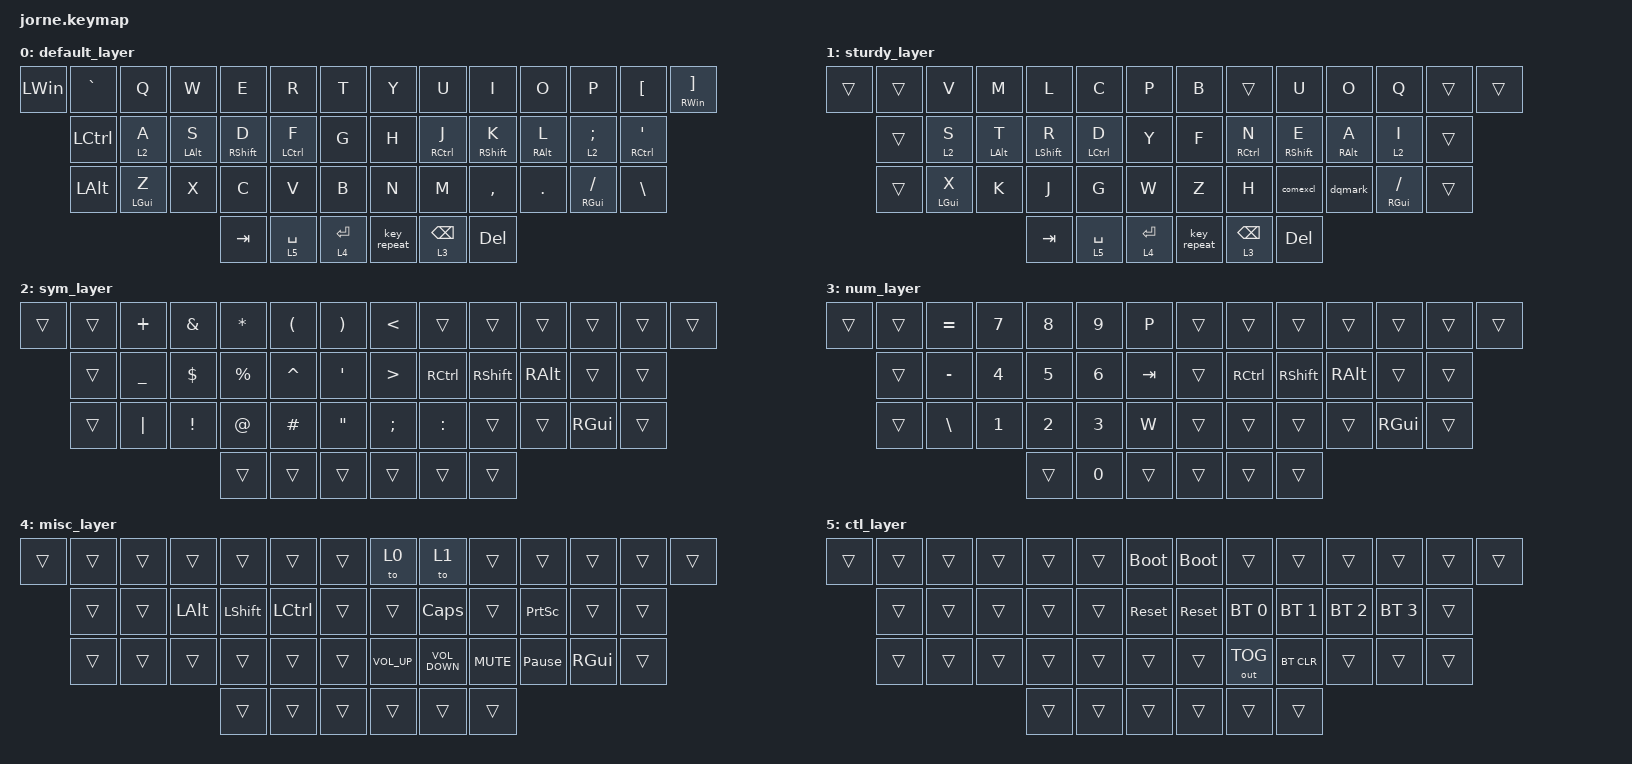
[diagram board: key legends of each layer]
/*
 * Copyright (c) 2020 The ZMK Contributors
 *
 * SPDX-License-Identifier: MIT
 */
/* THIS FILE WAS GENERATED!
 *
 * This file was generated automatically. You may or may not want to
 * edit it directly.
 */

#include <behaviors.dtsi>
#include <dt-bindings/zmk/bt.h>
#include <dt-bindings/zmk/keys.h>
#include <dt-bindings/zmk/outputs.h>

&caps_word {
    continue-list = <UNDERSCORE MINUS>;
};

&lt {
    quick-tap-ms = <175>;
    flavor = "balanced";
};

/ {
    combos {
        compatible = "zmk,combos";

        combo_caps_word {
            timeout-ms = <50>;
            key-positions = <18 21>;
            bindings = <&caps_word>;
            layers = <0 1>;
        };
    };

    behaviors {
        rhm: rhm {
            compatible = "zmk,behavior-hold-tap";
            label = "RHM";
            bindings = <&kp>, <&kp>;

            #binding-cells = <2>;
            flavor = "balanced";
            tapping-term-ms = <280>;
            quick-tap-ms = <175>;
            require-prior-idle-ms = <125>;
            hold-trigger-on-release;
            hold-trigger-key-positions = <0 14 30 31 4 3 2 1 19 17 18 5 6 16 29 28 15 27 26 38 40 39>;
        };

        lhm: lhm {
            compatible = "zmk,behavior-hold-tap";
            label = "LHM";
            bindings = <&kp>, <&kp>;

            #binding-cells = <2>;
            tapping-term-ms = <280>;
            quick-tap-ms = <175>;
            require-prior-idle-ms = <125>;
            hold-trigger-key-positions = <7 8 9 25 32 33 20 21 22 23 10 12 11 13 37 24 36 35 34 42 43 41>;
            hold-trigger-on-release;
            flavor = "balanced";
        };

        dqmark: dot_qmark {
            compatible = "zmk,behavior-mod-morph";
            label = "DOT_QMARK";
            #binding-cells = <0>;
            bindings = <&kp DOT>, <&kp QMARK>;

            mods = <(MOD_LSFT|MOD_RSFT)>;
        };

        comexcl: comm_excl {
            compatible = "zmk,behavior-mod-morph";
            label = "COMMA_EXCL";
            #binding-cells = <0>;
            bindings = <&kp COMMA>, <&kp EXCL>;

            mods = <(MOD_LSFT|MOD_RSFT)>;
        };
    };

    keymap {
        compatible = "zmk,keymap";

        default_layer {
            bindings = <
&kp LWIN  &kp GRAVE  &kp Q            &kp W        &kp E          &kp R         &kp T      &kp Y        &kp U            &kp I          &kp O        &kp P                 &kp LBKT       &mt RWIN RBKT
          &kp LCTRL  &lt 2 A          &lhm LALT S  &lhm RSHIFT D  &lhm LCTRL F  &kp G      &kp H        &rhm RCTRL J     &rhm RSHIFT K  &rhm RALT L  &lt 2 SEMI            &mt RCTRL SQT
          &kp LALT   &lhm LEFT_GUI Z  &kp X        &kp C          &kp V         &kp B      &kp N        &kp M            &kp COMMA      &kp DOT      &rhm RIGHT_GUI SLASH  &kp BSLH
                                                   &kp TAB        &lt 5 SPACE   &lt 4 RET  &key_repeat  &lt 3 BACKSPACE  &kp DEL
            >;
        };

        sturdy_layer {
            bindings = <
&trans  &trans  &kp V            &kp M            &kp L              &kp C         &kp P      &kp B        &trans           &kp U               &kp O             &kp Q                 &trans  &trans
        &trans  &lt 2 S          &lhm LEFT_ALT T  &lhm LEFT_SHIFT R  &lhm LCTRL D  &kp Y      &kp F        &rhm RCTRL N     &rhm RIGHT_SHIFT E  &rhm RIGHT_ALT A  &lt 2 I               &trans
        &trans  &lhm LEFT_GUI X  &kp K            &kp J              &kp G         &kp W      &kp Z        &kp H            &comexcl            &dqmark           &rhm RIGHT_GUI SLASH  &trans
                                                  &kp TAB            &lt 5 SPACE   &lt 4 RET  &key_repeat  &lt 3 BACKSPACE  &kp DEL
            >;
        };

        sym_layer {
            bindings = <
&trans  &trans  &kp PLUS   &kp AMPS  &kp ASTRK  &kp LEFT_PARENTHESIS  &kp RPAR  &kp LT    &trans     &trans           &trans    &trans         &trans  &trans
        &trans  &kp UNDER  &kp DLLR  &kp PRCNT  &kp CARET             &kp SQT   &kp GT    &kp RCTRL  &kp RIGHT_SHIFT  &kp RALT  &trans         &trans
        &trans  &kp PIPE   &kp EXCL  &kp AT     &kp HASH              &kp DQT   &kp SEMI  &kp COLON  &trans           &trans    &kp RIGHT_GUI  &trans
                                     &trans     &trans                &trans    &trans    &trans     &trans
            >;
        };

        num_layer {
            bindings = <
&trans  &trans  &kp EQUAL  &kp N7  &kp N8  &kp N9  &kp P    &trans  &trans     &trans           &trans         &trans         &trans  &trans
        &trans  &kp MINUS  &kp N4  &kp N5  &kp N6  &kp TAB  &trans  &kp RCTRL  &kp RIGHT_SHIFT  &kp RIGHT_ALT  &trans         &trans
        &trans  &kp BSLH   &kp N1  &kp N2  &kp N3  &kp W    &trans  &trans     &trans           &trans         &kp RIGHT_GUI  &trans
                                   &trans  &kp N0  &trans   &trans  &trans     &trans
            >;
        };

        misc_layer {
            bindings = <
&trans  &trans  &trans  &trans    &trans     &trans     &trans  &to 0            &to 1              &trans      &trans           &trans         &trans  &trans
        &trans  &trans  &kp LALT  &kp LSHFT  &kp LCTRL  &trans  &trans           &kp CAPSLOCK       &trans      &kp PSCRN        &trans         &trans
        &trans  &trans  &trans    &trans     &trans     &trans  &kp K_VOLUME_UP  &kp K_VOLUME_DOWN  &kp K_MUTE  &kp PAUSE_BREAK  &kp RIGHT_GUI  &trans
                                  &trans     &trans     &trans  &trans           &trans             &trans
            >;
        };

        ctl_layer {
            bindings = <
&trans  &trans  &trans  &trans  &trans  &trans  &bootloader  &bootloader  &trans        &trans        &trans        &trans        &trans  &trans
        &trans  &trans  &trans  &trans  &trans  &sys_reset   &sys_reset   &bt BT_SEL 0  &bt BT_SEL 1  &bt BT_SEL 2  &bt BT_SEL 3  &trans
        &trans  &trans  &trans  &trans  &trans  &trans       &trans       &out OUT_TOG  &bt BT_CLR    &trans        &trans        &trans
                                &trans  &trans  &trans       &trans       &trans        &trans
            >;
        };
    };
};
